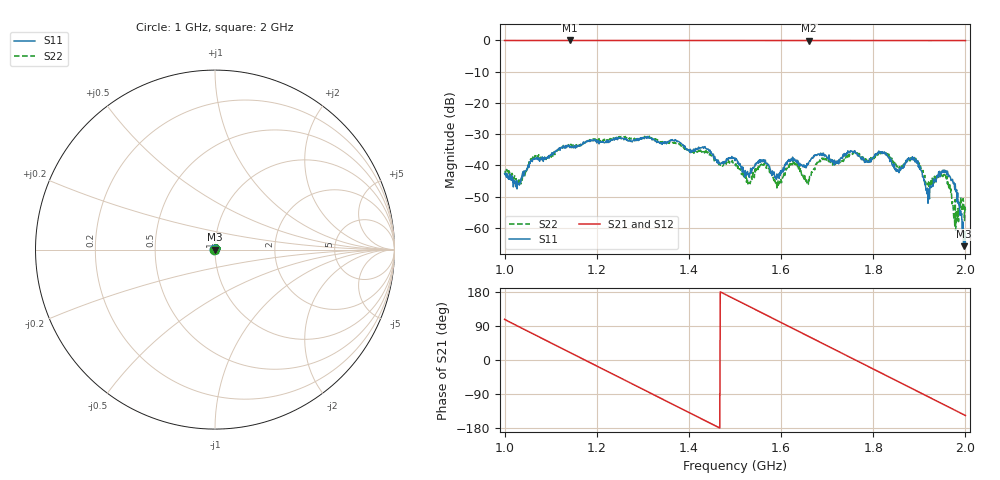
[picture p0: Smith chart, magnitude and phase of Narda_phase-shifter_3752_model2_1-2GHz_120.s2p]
#  HZ  S  DB  R  50.00
! Rohde & Schwarz Vector Network Analyzer
! Rohde-Schwarz,ZNB8-4Port,1311601044102961,2.82
! Created: UTC 1/17/2019, 2:38:22 PM
! freq[Hz]  db:S11  ang:S11  db:S21  ang:S21  db:S12  ang:S12  db:S22  ang:S22
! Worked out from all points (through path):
!   1001 points, 1 GHz to 2 GHz, reference 50 ohm
!   highest |S21| = -0.06 dB at 1.142 GHz (marker M1); lowest = -0.1 dB at 1.661 GHz (marker M2)
!   group delay of S21, straight-line fit = 1.7 ns
!   lowest |S11| = -65.9 dB at 1.996 GHz (marker M3), VSWR 1.00, Z = 50 - j0.0157 ohm
!   |S11| at or under -10 dB: start of sweep to end of sweep
!   |S22| runs from -60.8 to -30.7 dB; largest |S21 - S12| = 0.011
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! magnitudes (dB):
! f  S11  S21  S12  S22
! 1 GHz  -42.6  -0.1  -0.1  -41.8
! 1.031 GHz  -45.7  -0.1  -0.1  -44.7
! 1.061 GHz  -38.3  -0.1  -0.1  -37.6
! 1.142 GHz  -34.3  -0.1  -0.1  -33.4
! 1.167 GHz  -33.6  -0.1  -0.1  -33.5
! 1.334 GHz  -32.6  -0.1  -0.1  -32.1
! 1.5 GHz  -38.5  -0.1  -0.1  -39.9
! 1.53 GHz  -43.0  -0.1  -0.1  -45.0
! 1.562 GHz  -38.6  -0.1  -0.1  -39.6
! 1.591 GHz  -42.8  -0.1  -0.1  -47.7
! 1.626 GHz  -38.2  -0.1  -0.1  -38.4
! 1.661 GHz  -38.8  -0.1  -0.1  -44.9
! 1.667 GHz  -37.6  -0.1  -0.1  -42.3
! 1.692 GHz  -36.1  -0.1  -0.1  -38.1
! 1.834 GHz  -37.6  -0.1  -0.1  -36.5
! 1.854 GHz  -41.6  -0.1  -0.1  -40.5
! 1.892 GHz  -38.1  -0.1  -0.1  -37.9
! 1.919 GHz  -52.1  -0.1  -0.1  -46.1
! 1.96 GHz  -43.0  -0.1  -0.1  -43.5
! 1.978 GHz  -45.9  -0.1  -0.1  -50.9
! 1.996 GHz  -65.9  -0.1  -0.1  -51.8
! 2 GHz  -65.1  -0.1  -0.1  -54.3
